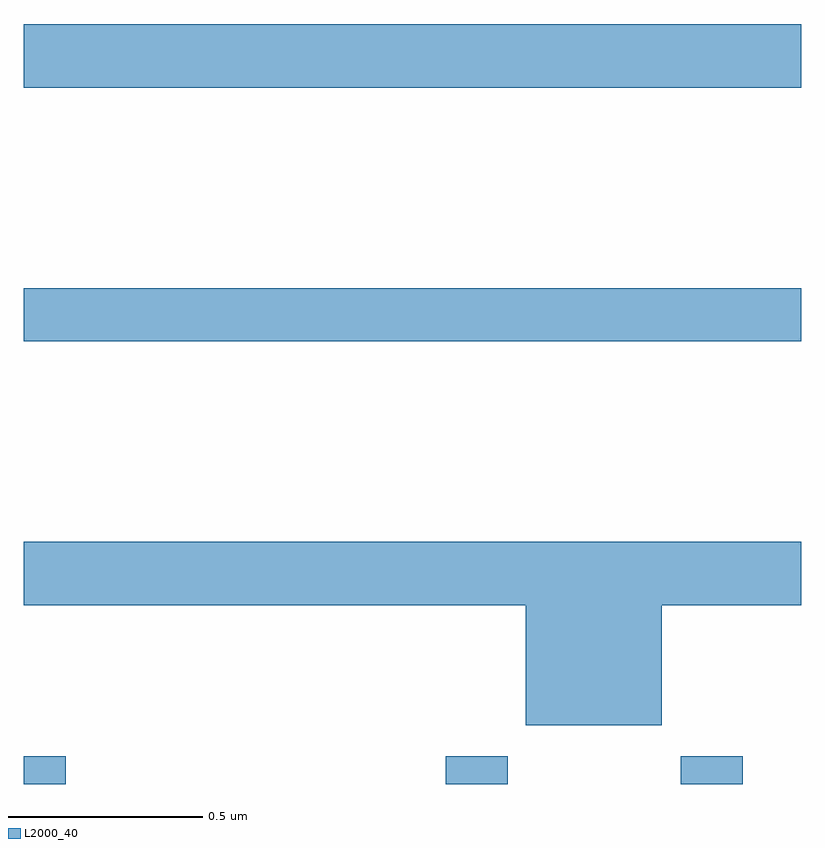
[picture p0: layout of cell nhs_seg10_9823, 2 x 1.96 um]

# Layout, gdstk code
import gdstk
lib = gdstk.Library(unit=1e-6, precision=1e-09)
def R(c, l, rs):  # rectangles x0, y0, x1, y1
    for r in rs: c.add(gdstk.rectangle(r[:2], r[2:], *l))
def P(c, l, *ps):  # polygons
    for p in ps: c.add(gdstk.Polygon(p, *l))
L2000_40 = (2000, 40)

nhs_seg10_9823 = lib.new_cell('nhs_seg10_9823')
R(nhs_seg10_9823, L2000_40, [(234,1322.5,234.107,1322.572), (235.085,1322.5,235.245,1322.572), (235.69,1322.5,235.85,1322.572), (234,1323.64,236,1323.776), (234,1324.292,236,1324.456)])
P(nhs_seg10_9823, L2000_40, [(235.642,1322.96),(236,1322.96),(236,1323.124),(234,1323.124),(234,1322.96),(235.292,1322.96),(235.292,1322.651),(235.642,1322.651)])

lib.write_gds('nhs_seg10_9823.gds')
